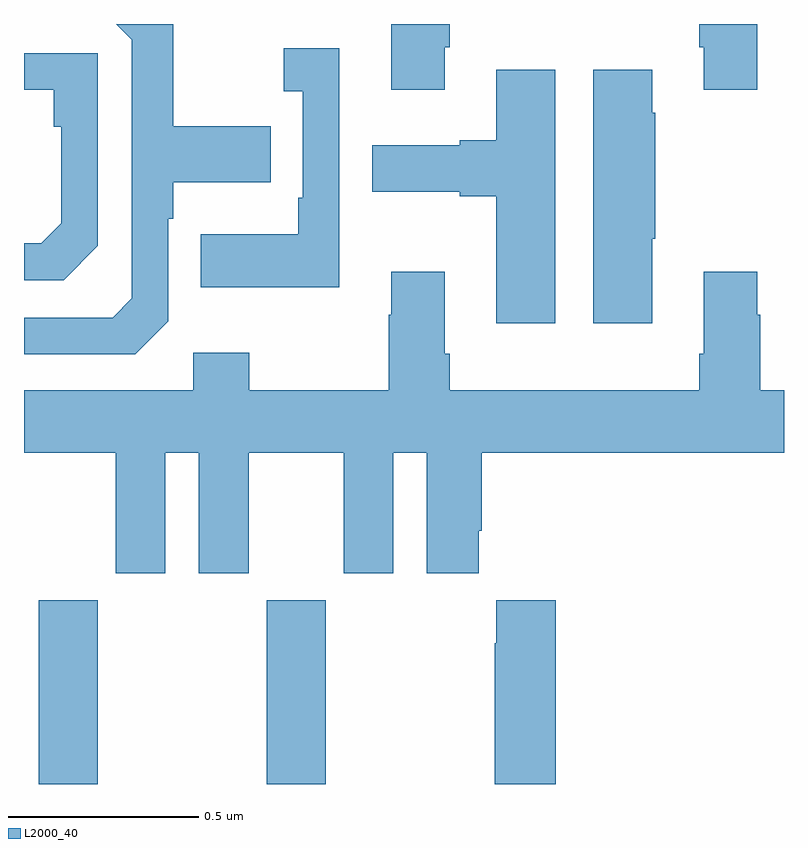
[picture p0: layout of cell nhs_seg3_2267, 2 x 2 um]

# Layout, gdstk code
import gdstk
lib = gdstk.Library(unit=1e-6, precision=1e-09)
def R(c, l, rs):  # rectangles x0, y0, x1, y1
    for r in rs: c.add(gdstk.rectangle(r[:2], r[2:], *l))
def P(c, l, *ps):  # polygons
    for p in ps: c.add(gdstk.Polygon(p, *l))
L2000_40 = (2000, 40)

nhs_seg3_2267 = lib.new_cell('nhs_seg3_2267')
R(nhs_seg3_2267, L2000_40, [(139.039,677.4,139.194,677.884), (139.639,677.4,139.794,677.884)])
P(nhs_seg3_2267, L2000_40, [(140.107,679.339),(140.12,679.339),(140.12,679.4),(139.967,679.4),(139.967,679.227),(140.107,679.227)],
  [(140.929,679.4),(140.777,679.4),(140.777,679.339),(140.789,679.339),(140.789,679.227),(140.929,679.227)],
  [(139.38,678.618),(139.38,678.887),(139.393,678.887),(139.393,678.983),(139.649,678.983),(139.649,679.131),(139.393,679.131),(139.393,679.4),(139.243,679.4),(139.284,679.359),(139.284,678.678),(139.233,678.627),(139,678.627),(139,678.531),(139.293,678.531)],
  [(139.83,679.336),(139.683,679.336),(139.683,679.223),(139.734,679.223),(139.734,678.943),(139.722,678.943),(139.722,678.847),(139.465,678.847),(139.465,678.707),(139.83,678.707)],
  [(139.194,678.816),(139.194,679.323),(139,679.323),(139,679.227),(139.078,679.227),(139.078,679.13),(139.098,679.13),(139.098,678.876),(139.045,678.823),(139,678.823),(139,678.726),(139.104,678.726)],
  [(140.653,678.835),(140.661,678.835),(140.661,679.166),(140.653,679.166),(140.653,679.279),(140.498,679.279),(140.498,678.612),(140.653,678.612)],
  [(140.398,679.279),(140.243,679.279),(140.243,679.094),(140.147,679.094),(140.147,679.081),(139.917,679.081),(139.917,678.959),(140.147,678.959),(140.147,678.947),(140.243,678.947),(140.243,678.612),(140.398,678.612)],
  [(139.372,678.272),(139.46,678.272),(139.46,677.955),(139.591,677.955),(139.591,678.272),(139.841,678.272),(139.841,677.955),(139.972,677.955),(139.972,678.272),(140.06,678.272),(140.06,677.955),(140.197,677.955),(140.197,678.067),(140.204,678.067),(140.204,678.272),(141,678.272),(141,678.436),(140.937,678.436),(140.937,678.635),(140.929,678.635),(140.929,678.748),(140.789,678.748),(140.789,678.532),(140.777,678.532),(140.777,678.436),(140.12,678.436),(140.12,678.532),(140.107,678.532),(140.107,678.748),(139.967,678.748),(139.967,678.635),(139.96,678.635),(139.96,678.436),(139.593,678.436),(139.593,678.535),(139.446,678.535),(139.446,678.436),(139,678.436),(139,678.272),(139.241,678.272),(139.241,677.955),(139.372,677.955)],
  [(140.399,677.884),(140.243,677.884),(140.243,677.771),(140.239,677.771),(140.239,677.4),(140.399,677.4)])

lib.write_gds('nhs_seg3_2267.gds')
